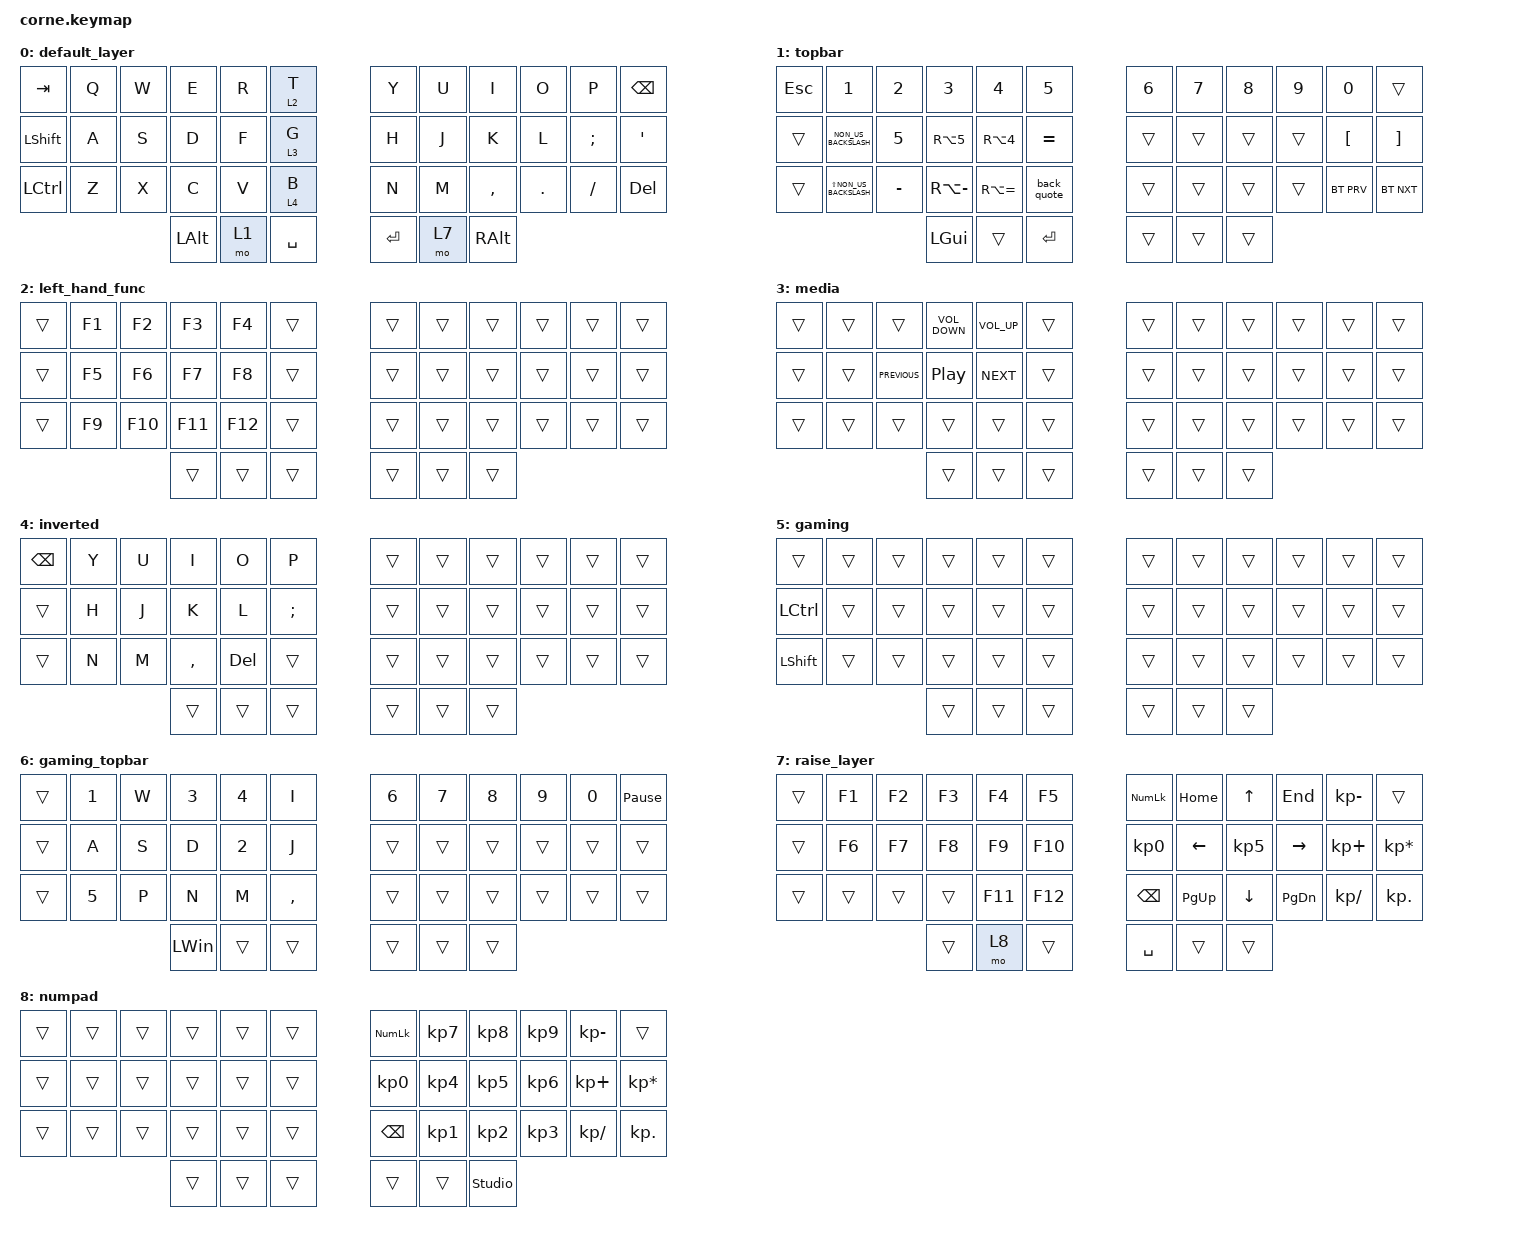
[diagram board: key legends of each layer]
/*
 * Copyright (c) 2020 The ZMK Contributors
 *
 * SPDX-License-Identifier: MIT
 */

#include <behaviors.dtsi>
#include <dt-bindings/zmk/bt.h>
#include <dt-bindings/zmk/ext_power.h>
#include <dt-bindings/zmk/keys.h>

&lt { require-prior-idle-ms = <200>; };

/ {
    combos {
        compatible = "zmk,combos";

        gamingtoggle {
            bindings = <&tog 5>;
            key-positions = <25 26 27>;
            layers = <0 5>;
            require-prior-idle-ms = <0>;
        };

        profil0 {
            bindings = <&bt BT_SEL 0>;
            key-positions = <32 33>;
            layers = <1>;
        };

        profil1 {
            bindings = <&bt BT_SEL 1>;
            key-positions = <34 33>;
            layers = <1>;
        };

        resetprofile {
            bindings = <&bt BT_CLR>;
            key-positions = <35 23>;
            layers = <1>;
        };

        profil2 {
            bindings = <&bt BT_SEL 2>;
            key-positions = <34 35>;
            layers = <1>;
        };

        ext_pow {
            bindings = <&ext_power EP_TOG>;
            key-positions = <24 25 26>;
            timeout-ms = <0>;
            layers = <1>;
        };
    };

    macros {
        back_quote: back_cote {
            compatible = "zmk,behavior-macro";
            #binding-cells = <0>;
            bindings = <&kp RA(N7) &kp SPACE>;
            label = "BACK_COTE";
        };
    };

    keymap {
        compatible = "zmk,keymap";

        default_layer {
            // -----------------------------------------------------------------------------------------
            // |  TAB |  Q  |  W  |  E  |  R  |  T  |   |  Y  |  U   |  I  |  O  |  P  | BKSP |
            // | CTRL |  A  |  S  |  D  |  F  |  G  |   |  H  |  J   |  K  |  L  |  ;  |  '   |
            // | SHFT |  Z  |  X  |  C  |  V  |  B  |   |  N  |  M   |  ,  |  .  |  /  | ESC  |
            //                    | GUI | LWR | SPC |   | ENT | RSE  | ALT |

            bindings = <
&kp TAB         &kp Q  &kp W  &kp E         &kp R  &lt 2 T      &kp Y    &kp U  &kp I      &kp O    &kp P     &kp BSPC
&kp LEFT_SHIFT  &kp A  &kp S  &kp D         &kp F  &lt 3 G      &kp H    &kp J  &kp K      &kp L    &kp SEMI  &kp SQT
&kp LCTRL       &kp Z  &kp X  &kp C         &kp V  &lt 4 B      &kp N    &kp M  &kp COMMA  &kp DOT  &kp FSLH  &kp DELETE
                              &kp LEFT_ALT  &mo 1  &kp SPACE    &kp RET  &mo 7  &kp RALT
            >;
        };

        topbar {
            bindings = <
&kp ESC  &kp N1                    &kp N2     &kp N3         &kp N4         &kp N5         &kp N6  &kp N7  &kp N8  &kp N9  &kp N0      &trans
&trans   &kp NON_US_BACKSLASH      &kp N5     &kp RA(N5)     &kp RA(N4)     &kp EQUAL      &trans  &trans  &trans  &trans  &kp LBKT    &kp RBKT
&trans   &kp LS(NON_US_BACKSLASH)  &kp MINUS  &kp RA(MINUS)  &kp RA(EQUAL)  &back_quote    &trans  &trans  &trans  &trans  &bt BT_PRV  &bt BT_NXT
                                              &kp LGUI       &trans         &kp RET        &trans  &trans  &trans
            >;
        };

        left_hand_func {
            bindings = <
&trans  &kp F1  &kp F2   &kp F3   &kp F4   &trans    &trans  &trans  &trans  &trans  &trans  &trans
&trans  &kp F5  &kp F6   &kp F7   &kp F8   &trans    &trans  &trans  &trans  &trans  &trans  &trans
&trans  &kp F9  &kp F10  &kp F11  &kp F12  &trans    &trans  &trans  &trans  &trans  &trans  &trans
                         &trans   &trans   &trans    &trans  &trans  &trans
            >;
        };

        media {
            bindings = <
&trans  &trans  &trans          &kp C_VOLUME_DOWN  &kp C_VOLUME_UP  &trans    &trans  &trans  &trans  &trans  &trans  &trans
&trans  &trans  &kp C_PREVIOUS  &kp C_PLAY_PAUSE   &kp C_NEXT       &trans    &trans  &trans  &trans  &trans  &trans  &trans
&trans  &trans  &trans          &trans             &trans           &trans    &trans  &trans  &trans  &trans  &trans  &trans
                                &trans             &trans           &trans    &trans  &trans  &trans
            >;
        };

        inverted {
            bindings = <
&kp BSPC  &kp Y  &kp U  &kp I      &kp O       &kp P       &trans  &trans  &trans  &trans  &trans  &trans
&trans    &kp H  &kp J  &kp K      &kp L       &kp SEMI    &trans  &trans  &trans  &trans  &trans  &trans
&trans    &kp N  &kp M  &kp COMMA  &kp DELETE  &trans      &trans  &trans  &trans  &trans  &trans  &trans
                        &trans     &trans      &trans      &trans  &trans  &trans
            >;
        };

        gaming {
            bindings = <
&trans     &trans  &trans  &trans  &trans  &trans    &trans  &trans  &trans  &trans  &trans  &trans
&kp LCTRL  &trans  &trans  &trans  &trans  &trans    &trans  &trans  &trans  &trans  &trans  &trans
&kp LSHFT  &trans  &trans  &trans  &trans  &trans    &trans  &trans  &trans  &trans  &trans  &trans
                           &trans  &trans  &trans    &trans  &trans  &trans
            >;
        };

        gaming_topbar {
            bindings = <
&trans  &kp N1  &kp W  &kp N3        &kp N4  &kp I        &kp N6  &kp N7  &kp N8  &kp N9  &kp N0  &kp PAUSE_BREAK
&trans  &kp A   &kp S  &kp D         &kp N2  &kp J        &trans  &trans  &trans  &trans  &trans  &trans
&trans  &kp N5  &kp P  &kp N         &kp M   &kp COMMA    &trans  &trans  &trans  &trans  &trans  &trans
                       &kp LEFT_WIN  &trans  &trans       &trans  &trans  &trans
            >;
        };

        raise_layer {
            // -----------------------------------------------------------------------------------------
            // |  TAB |  !  |  @  |  #  |  $  |  %  |   |  ^  |  &  |  *  |  (  |  )  | BKSP |
            // | CTRL |     |     |     |     |     |   |  -  |  =  |  [  |  ]  |  \  |  `   |
            // | SHFT |     |     |     |     |     |   |  _  |  +  |  {  |  }  | "|" |  ~   |
            //                    | GUI |     | SPC |   | ENT |     | ALT |

            bindings = <
&trans  &kp F1  &kp F2  &kp F3  &kp F4   &kp F5     &kp KP_NUM       &kp HOME   &kp UP           &kp END    &kp KP_SUBTRACT  &trans
&trans  &kp F6  &kp F7  &kp F8  &kp F9   &kp F10    &kp KP_NUMBER_0  &kp LEFT   &kp KP_NUMBER_5  &kp RIGHT  &kp KP_PLUS      &kp KP_MULTIPLY
&trans  &trans  &trans  &trans  &kp F11  &kp F12    &kp BSPC         &kp PG_UP  &kp DOWN         &kp PG_DN  &kp KP_DIVIDE    &kp KP_DOT
                        &trans  &mo 8    &trans     &kp SPACE        &trans     &trans
            >;
        };

        numpad {
            bindings = <
&trans  &trans  &trans  &trans  &trans  &trans    &kp KP_NUM       &kp KP_NUMBER_7  &kp KP_NUMBER_8  &kp KP_NUMBER_9  &kp KP_SUBTRACT  &trans
&trans  &trans  &trans  &trans  &trans  &trans    &kp KP_NUMBER_0  &kp KP_NUMBER_4  &kp KP_NUMBER_5  &kp KP_NUMBER_6  &kp KP_PLUS      &kp KP_MULTIPLY
&trans  &trans  &trans  &trans  &trans  &trans    &kp BSPC         &kp KP_NUMBER_1  &kp KP_NUMBER_2  &kp KP_NUMBER_3  &kp KP_DIVIDE    &kp KP_DOT
                        &trans  &trans  &trans    &trans           &trans           &studio_unlock
            >;
        };
    };

    conditional_layers {
        compatible = "zmk,conditional-layers";

        gamingmode {
            if-layers = <1 5>;
            then-layer = <6>;
        };
    };
};
